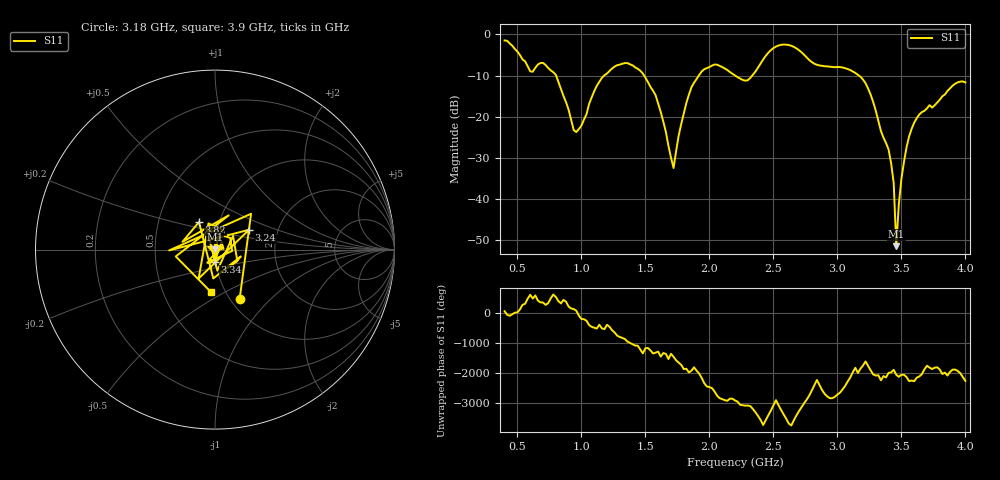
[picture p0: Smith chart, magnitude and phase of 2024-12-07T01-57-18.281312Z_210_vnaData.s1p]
!Created with skrf (http://scikit-rf.org).
# Hz S RI R 50.0
!freq ReS11 ImS11
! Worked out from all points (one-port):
!   181 points, 400 MHz to 4 GHz, reference 50 ohm
!   lowest |S11| = -51.5 dB at 3.46 GHz (marker M1), VSWR 1.01, Z = 50 + j0.267 ohm
!   |S11| at or under -10 dB: 802.4 MHz to 1.177 GHz (374.6 MHz wide, 37.9 % of centre); 1.49 GHz to 1.917 GHz (427 MHz wide, 25.1 % of centre); 3.168 GHz to end of sweep (the widest 3 of 4)
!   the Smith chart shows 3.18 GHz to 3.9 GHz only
!   S11 on the Smith chart (normalised r, x): 3.18 GHz: 1.11, -0.67; 3.24 GHz: 1.42, +0.33; 3.34 GHz: 0.99, -0.13; 3.82 GHz: 0.80, +0.25; 3.9 GHz: 0.86, -0.43
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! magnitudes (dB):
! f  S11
! 400 MHz  -1.5
! 600 MHz  -9.0
! 780 MHz  -9.2
! 860 MHz  -15.0
! 960 MHz  -23.7
! 1.16 GHz  -10.6
! 1.3 GHz  -7.3
! 1.46 GHz  -8.8
! 1.58 GHz  -14.8
! 1.72 GHz  -32.5
! 1.76 GHz  -24.6
! 1.86 GHz  -12.8
! 1.94 GHz  -9.0
! 2.2 GHz  -10.0
! 2.3 GHz  -11.1
! 2.66 GHz  -3.0
! 3.1 GHz  -8.6
! 3.18 GHz  -10.3
! 3.24 GHz  -13.2
! 3.34 GHz  -23.5
! 3.42 GHz  -31.4
! 3.44 GHz  -36.1
! 3.46 GHz  -51.5
! 3.5 GHz  -35.1
! 3.56 GHz  -24.8
! 3.82 GHz  -15.0
! 3.9 GHz  -12.4
! 4 GHz  -11.7
